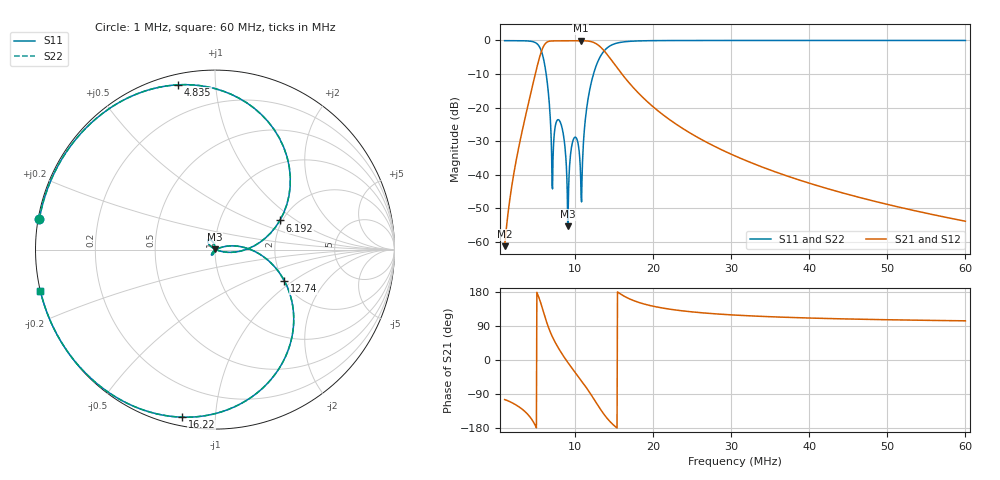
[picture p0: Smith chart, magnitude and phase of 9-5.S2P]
! 2-port S-parameter file Version 2.0 by Elsie 19/04/2023 08:46:06
[Version] 2.0
# MHz S DB R 50
[Number of Ports] 2
[Two-Port Data Order] 21_12
! Fstart: 1  Fstop: 60
[Reference]  50 50
! Freq:  S11 mag:  S11 angle:  S21 mag:  S21 angle:  S12 mag:  S12 angle:  S22 mag:  S22 angle:
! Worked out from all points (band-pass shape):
!   1001 points, 1 MHz to 60 MHz, reference 50 ohm
!   highest |S21| = -0.09 dB at 10.73 MHz (marker M1); lowest = -61.4 dB at 1 MHz (marker M2)
!   |S21| within 3 dB of the highest: 5.739 MHz to 13.75 MHz (8.006 MHz wide, 82.2 % of centre)
!   lowest |S11| = -55.4 dB at 9.083 MHz (marker M3), VSWR 1.00, Z = 49.9 + j0.129 ohm
!   |S11| at or under -10 dB: 6.321 MHz to 12.38 MHz (6.06 MHz wide, 64.8 % of centre)
!   |S22| runs from -55.4 to 0.0 dB; largest |S21 - S12| = 0
!   S11 on the Smith chart (normalised r, x): 1 MHz: 0.00, +0.09; 4.835 MHz: 0.05, +0.80; 6.192 MHz: 1.94, +0.75; 12.74 MHz: 2.02, -0.86; 16.22 MHz: 0.04, -0.82; 60 MHz: 0.00, -0.12
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[Number of Frequencies] 22
[Network Data]
1  -0.06 170.1  -61.35 -104.5  -61.35 -104.5  -0.06 170.1
2.062  -0.07 158.4  -41.33 -113.9  -41.33 -113.9  -0.07 158.4
3.419  -0.10 139.0  -25.21 -132.6  -25.21 -132.6  -0.10 139.0
4.835  -0.53 102.6  -10.92 -168.9  -10.92 -168.9  -0.53 102.6
5.661  -2.88 60.0  -3.61 148.3  -3.61 148.3  -2.88 60.0
6.192  -8.04 24.2  -1.00 112.2  -1.00 112.2  -8.04 24.2
7.077  -43.15 -6.1  -0.14 63.0  -0.14 63.0  -43.15 -6.1
7.667  -24.05 130.0  -0.14 39.4  -0.14 39.4  -24.05 130.0
8.139  -24.42 114.6  -0.12 23.1  -0.12 23.1  -24.42 114.6
9.083  -55.40 130.6  -0.10 -6.1  -0.10 -6.1  -55.40 130.6
9.968  -28.92 -120.0  -0.10 -31.1  -0.10 -31.1  -28.92 -120.0
10.735  -40.63 -123.1  -0.09 -52.2  -0.09 -52.2  -40.63 -123.1
10.853  -48.14 -26.6  -0.09 -55.4  -0.09 -55.4  -48.14 -26.6
11.62  -18.40 9.5  -0.17 -77.6  -0.17 -77.6  -18.40 9.5
12.741  -7.43 -24.4  -1.00 -113.1  -1.00 -113.1  -7.43 -24.4
13.921  -2.66 -59.5  -3.58 -148.6  -3.58 -148.6  -2.66 -59.5
16.222  -0.43 -101.1  -10.61 169.4  -10.61 169.4  -0.43 -101.1
20.706  -0.04 -131.2  -21.12 139.1  -21.12 139.1  -0.04 -131.2
30.5  -0.00 -151.6  -34.44 118.5  -34.44 118.5  -0.00 -151.6
40.353  -0.00 -159.6  -42.82 110.6  -42.82 110.6  -0.00 -159.6
50.206  -0.00 -163.9  -49.01 106.2  -49.01 106.2  -0.00 -163.9
60  -0.00 -166.7  -53.92 103.4  -53.92 103.4  -0.00 -166.7
[End]
